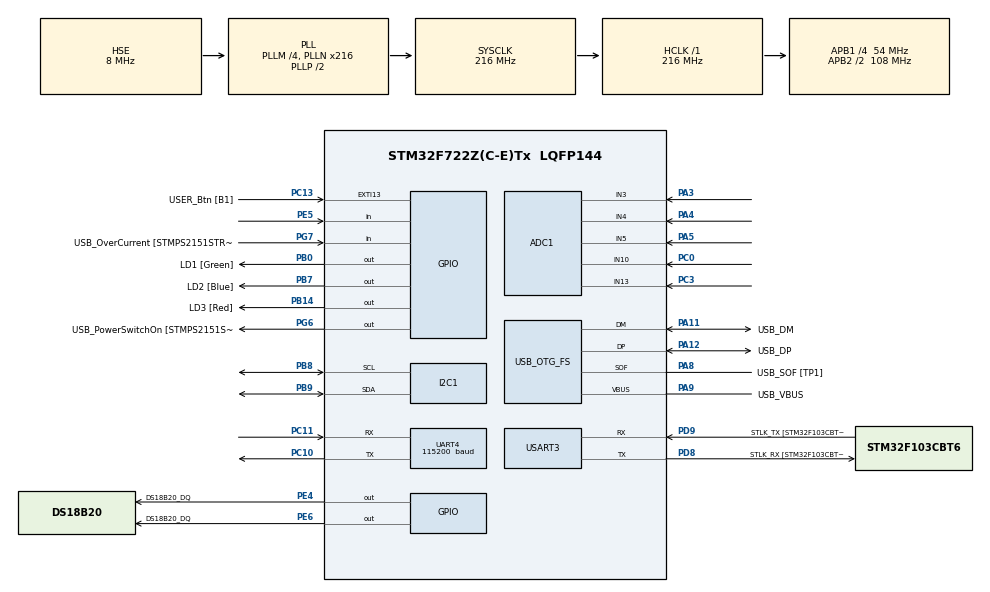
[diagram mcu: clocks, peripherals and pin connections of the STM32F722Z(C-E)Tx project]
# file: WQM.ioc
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ADC1.Channel-3\#ChannelRegularConversion=ADC_CHANNEL_3
ADC1.NbrOfConversionFlag=1
ADC1.Rank-3\#ChannelRegularConversion=1
ADC1.SamplingTime-3\#ChannelRegularConversion=ADC_SAMPLETIME_3CYCLES
ADC1.master=1
CORTEX_M7.default_mode_Activation=1
I2C1.Timing=0x20404768
Mcu.Family=STM32F7
Mcu.Name=STM32F722Z(C-E)Tx
Mcu.Package=LQFP144
NVIC.PriorityGroup=NVIC_PRIORITYGROUP_4
PA10.GPIO_Label=USB_ID
PA10.Signal=USB_OTG_FS_ID
PA11.GPIO_Label=USB_DM
PA11.Mode=Device_Only
PA11.Signal=USB_OTG_FS_DM
PA12.GPIO_Label=USB_DP
PA12.Mode=Device_Only
PA12.Signal=USB_OTG_FS_DP
PA13.GPIO_Label=TMS
PA13.Mode=Serial_Wire
PA13.Signal=SYS_JTMS-SWDIO
PA14.GPIO_Label=TCK
PA14.Mode=Serial_Wire
PA14.Signal=SYS_JTCK-SWCLK
PA3.Signal=ADCx_IN3
PA4.Signal=ADCx_IN4
PA5.Signal=ADCx_IN5
PA8.GPIO_Label=USB_SOF [TP1]
PA8.Mode=Activate_SOF_FS
PA8.Signal=USB_OTG_FS_SOF
PA9.GPIO_Label=USB_VBUS
PA9.Mode=Activate_VBUS
PA9.Signal=USB_OTG_FS_VBUS
PB0.GPIO_Label=LD1 [Green]
PB0.Signal=GPIO_Output
PB14.GPIO_Label=LD3 [Red]
PB14.Signal=GPIO_Output
PB3.GPIO_Label=SWO
PB3.Signal=SYS_JTDO-SWO
PB7.GPIO_Label=LD2 [Blue]
PB7.Signal=GPIO_Output
PB8.Mode=I2C
PB8.Signal=I2C1_SCL
PB9.Mode=I2C
PB9.Signal=I2C1_SDA
PC0.Signal=ADCx_IN10
PC10.Mode=Asynchronous
PC10.Signal=UART4_TX
PC11.Mode=Asynchronous
PC11.Signal=UART4_RX
PC13.GPIO_Label=USER_Btn [B1]
PC13.Signal=GPXTI13
PC14-OSC32_IN.Mode=LSE-External-Oscillator
PC14-OSC32_IN.Signal=RCC_OSC32_IN
PC15-OSC32_OUT.Mode=LSE-External-Oscillator
PC15-OSC32_OUT.Signal=RCC_OSC32_OUT
PC3.Signal=ADCx_IN13
PC6.Signal=USART6_TX
PC7.Signal=USART6_RX
PD8.GPIO_Label=STLK_RX [STM32F103CBT6_PA3]
PD8.Mode=Asynchronous
PD8.Signal=USART3_TX
PD9.GPIO_Label=STLK_TX [STM32F103CBT6_PA2]
PD9.Mode=Asynchronous
PD9.Signal=USART3_RX
PE4.GPIO_Label=DS18B20_DQ
PE4.GPIO_ModeDefaultOutputPP=GPIO_MODE_OUTPUT_OD
PE4.GPIO_PuPd=GPIO_PULLUP
PE4.GPIO_Speed=GPIO_SPEED_FREQ_HIGH
PE4.PinState=GPIO_PIN_SET
PE4.Signal=GPIO_Output
PE5.Signal=GPIO_Input
PE6.GPIO_Label=DS18B20_DQ
PE6.GPIO_ModeDefaultOutputPP=GPIO_MODE_OUTPUT_OD
PE6.GPIO_PuPd=GPIO_PULLUP
PE6.GPIO_Speed=GPIO_SPEED_FREQ_HIGH
PE6.PinState=GPIO_PIN_SET
PE6.Signal=GPIO_Output
PG6.GPIO_Label=USB_PowerSwitchOn [STMPS2151STR_EN]
PG6.Signal=GPIO_Output
PG7.GPIO_Label=USB_OverCurrent [STMPS2151STR_FAULT]
PG7.Signal=GPIO_Input
PH0-OSC_IN.GPIO_Label=MCO
PH0-OSC_IN.Mode=HSE-External-Clock-Source
PH0-OSC_IN.Signal=RCC_OSC_IN
PH1-OSC_OUT.Mode=HSE-External-Clock-Source
PH1-OSC_OUT.Signal=RCC_OSC_OUT
ProjectManager.HeapSize=0x200
ProjectManager.StackSize=0x400
ProjectManager.TargetToolchain=STM32CubeIDE
RCC.48MHZClocksFreq_Value=24000000
RCC.AHBFreq_Value=216000000
RCC.APB1CLKDivider=RCC_HCLK_DIV4
RCC.APB1Freq_Value=54000000
RCC.APB1TimFreq_Value=108000000
RCC.APB2CLKDivider=RCC_HCLK_DIV2
RCC.APB2Freq_Value=108000000
RCC.APB2TimFreq_Value=216000000
RCC.CortexFreq_Value=216000000
RCC.HCLKFreq_Value=216000000
RCC.HSE_VALUE=8000000
RCC.HSI_VALUE=16000000
RCC.PLLM=4
RCC.PLLMUL=RCC_PLL_MUL9
RCC.PLLN=216
RCC.PLLQ=9
RCC.PRESCALERUSB=RCC_USBCLKSOURCE_PLL_DIV1_5
RCC.SYSCLKFreq_VALUE=216000000
RCC.SYSCLKSource=RCC_SYSCLKSOURCE_PLLCLK
RCC.SYSCLKSourceVirtual=RCC_SYSCLKSOURCE_PLLCLK
RCC.USBFreq_Value=48000000
RCC.VCOOutputFreq_Value=432000000
SH.ADCx_IN10.0=ADC1_IN10,IN10
SH.ADCx_IN13.0=ADC1_IN13,IN13
SH.ADCx_IN3.0=ADC1_IN3,IN3
SH.ADCx_IN4.0=ADC1_IN4,IN4
SH.ADCx_IN5.0=ADC1_IN5,IN5
UART4.BaudRate=115200 
USART3.VirtualMode-Asynchronous=VM_ASYNC
USB_OTG_FS.VirtualMode=Device_Only
VP_TIM6_VS_ClockSourceINT.Mode=Enable_Timer
board=NUCLEO-F722ZE

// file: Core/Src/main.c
/* USER CODE BEGIN Header */
/**
 ******************************************************************************
 * @file           : main.c
 * @brief          : Main program body
 ******************************************************************************
 * @attention
 *
 * Copyright (c) 2026 STMicroelectronics.
 * All rights reserved.
 *
 * This software is licensed under terms that can be found in the LICENSE file
 * in the root directory of this software component.
 * If no LICENSE file comes with this software, it is provided AS-IS.
 *
 ******************************************************************************
 */
/* USER CODE END Header */
#include "main.h"

/* USER CODE BEGIN Includes */
#include "bno085.h"
#include <math.h>
#include <stdio.h>
#include <string.h>

/* USER CODE END Includes */

/* USER CODE BEGIN PTD */

/* ── Sensor data aggregate ──────────────────────────────────────────────────
 */
typedef struct {
  float ph;
  float tds_ppm;
  float do_mgl;
  float orp_mv;
  float water_temp_1; /* DS18B20 primary   */
  float air_temp;     /* BMP280            */
  float pressure_hpa; /* BMP280            */

  /* ── Navigation / localisation (BNO085 + GPS) ──────────────────────── */
  float latitude;     /* GPS decimal degrees, north +     */
  float longitude;    /* GPS decimal degrees, east +      */
  float altitude_m;   /* GPS altitude above MSL (m)       */
  float speed_knots;  /* GPS speed over ground (knots)    */
  float course_deg;   /* GPS course over ground (degrees) */
  uint8_t gps_fix;    /* 0 = no fix, 1 = GPS, 2 = DGPS   */
  uint8_t satellites; /* Satellites in use                 */
  float heading;      /* BNO085 yaw / heading (degrees)   */
  float pitch;        /* BNO085 pitch (degrees)           */
  float roll;         /* BNO085 roll  (degrees)           */
} WQM_SensorData_t;

/* ── BMP280 calibration data (from chip NVM) ────────────────────────────────
 * This structure holds the factory-set calibration coefficients (trimming
 * parameters) burned into the BMP280 sensor's non-volatile memory (NVM).
 */
typedef struct {
  /* Temperature compensation parameters */
  uint16_t dig_T1;
  int16_t dig_T2;
  int16_t dig_T3;

  /* Pressure compensation parameters */
  uint16_t dig_P1;
  int16_t dig_P2;
  int16_t dig_P3;
  int16_t dig_P4;
  int16_t dig_P5;
  int16_t dig_P6;
  int16_t dig_P7;
  int16_t dig_P8;
  int16_t dig_P9;
} BMP280_CalibData_t;

/* USER CODE END PTD */

/* USER CODE BEGIN PD */

/* ── ADC & voltage ──────────────────────────────────────────────────────────
 */
#define ADC_RESOLUTION 4095.0f /* 12-bit ADC                     */
#define VREF 3.3f              /* STM32 ADC reference voltage    */
#define VDIV_SCALE 2.0f        /* Voltage divider 2:1 (10k/10k) */
#define ADC_SAMPLES 16         /* Oversampling count             */

/* ── pH sensor (robu.in Analog pH Sensor Kit) ───────────────────────────────
 *
 * Calibrated against standard pH buffers:
 *   pH  4.00 buffer -> V_sensor = 1.357 V
 *   pH  7.00 buffer -> V_sensor = 1.968 V
 *   pH 10.00 buffer -> V_sensor = 2.571 V
 *
 * Linear regression fit:
 *   pH = PH_SCALE × V_sensor + PH_OFFSET
 *   where PH_SCALE = 4.942f, PH_OFFSET = -2.713f
 *   Maximum residual error across 4.0, 7.0, and 10.0 standards is <= 0.01 pH.
 */
#define PH_SCALE (4.942f)  /* Calibrated linear scale factor (pH/V)     */
#define PH_OFFSET (-2.713f) /* Calibrated zero-offset trim               */

/* NOTE: If PA3 has NO hardware voltage divider (sensor output 0-3V direct),
 * change ADC_Read_Voltage() call for pH to use ADC_Read_Channel() with
 * manual ×(3.3/4095.0) and remove the ×2 — or set VDIV_SCALE to 1.0 here.
 * The current code assumes the 2:1 divider IS present on PA3. */

/* ── TDS sensor (SEN0244) polynomial coefficients & calibration ────────────
 * Calibrated against 1413 uS/cm standard solution (target 706.5 ppm):
 *   Measured raw TDS = 682.0 ppm at 16.88°C
 *   Calibration factor K = 706.5 / 682.0 = 1.036
 */
#define TDS_COEFF_A (133.42f)
#define TDS_COEFF_B (-255.86f)
#define TDS_COEFF_C (857.39f)
#define TDS_FACTOR (0.5f)
#define TDS_CAL_K (1.036f)   /* Calibration scale factor (K-value)         */
#define TDS_TEMP_COEFF 0.02f /* 2% per °C temperature compensation         */

/* ── DO sensor (SEN0237-A) calibration ──────────────────────────────────────
 */
#define DO_CAL1_V                                                              \
  764 /* Calibration voltage (mV): measured at PA4 (post-divider) in moist air \
       * at DO_CAL1_T (matches 1.54V sensor board output ÷ 2). */
#define DO_CAL1_T 24          /* Calibration temperature (°C)                  */
#define DO_TEMP_COMP_MV 17.5f /* ~35 mV/°C at board ÷ 2 for voltage divider   */

/* ── ORP sensor (SEN0165) ───────────────────────────────────────────────────
 */
#define ORP_OFFSET 0.0f /* Calibration offset in mV      */

/* ── DS18B20 OneWire ────────────────────────────────────────────────────────
 */
#define OW_PORT GPIOE
#define OW_PIN GPIO_PIN_6
#define DS18B20_CMD_SKIP_ROM 0xCC
#define DS18B20_CMD_MATCH_ROM 0x55
#define DS18B20_CMD_SEARCH 0xF0
#define DS18B20_CMD_CONVERT 0x44
#define DS18B20_CMD_READ_SCRATCH 0xBE

/* ── BMP280 I2C ─────────────────────────────────────────────────────────────
 */
#define BMP280_ADDR_PRIMARY (0x76 << 1) /* 7-bit addr left-shifted for HAL */
#define BMP280_ADDR_SECONDARY (0x77 << 1)
#define BMP280_REG_CALIB_00 0x88 /* Factory calib data start (24 bytes)     */
#define BMP280_REG_ID 0xD0
#define BMP280_REG_RESET 0xE0
#define BMP280_REG_STATUS 0xF3
#define BMP280_REG_CTRL_MEAS 0xF4
#define BMP280_REG_CONFIG 0xF5
#define BMP280_REG_DATA 0xF7 /* Press MSB..XLSB, Temp MSB..XLSB (6 bytes)*/
#define BMP280_CHIP_ID 0x58
#define BMP280_RESET_CMD 0xB6

/* ── JSON buffer ────────────────────────────────────────────────────────────
 */
#define JSON_BUF_SIZE 768 /* Increased for nav/GPS fields */

/* ── BNO085 IMU ─────────────────────────────────────────────────────────────
 */
#define BNO085_REPORT_INTERVAL_MS 100 /* 10 Hz orientation updates      */

/* ── Sampling interval ──────────────────────────────────────────────────────
 */
#define SAMPLE_INTERVAL_MS 1000 /* 1 second between readings     */

/* ── Device ID ──────────────────────────────────────────────────────────────
 */
#define DEVICE_ID                                                              \
  "WQM-001" // incase multiple of these units are deployed later, so each must
            // carry an id

/* ── Onboard ESP32 Gateway UART (Option A: UART4 PC10=TX / PC11=RX @ 115200) */
#define ESP32_UART         (&huart4)
#define ESP32_REPLY_BUF    48
#define ESP32_ACK_TIMEOUT  1000U /* ms to wait for ACK/NAK reply */
#define ESP32_MAX_ATTEMPTS 3     /* Retries on missing reply or NAK storage */

/* USER CODE END PD */

ADC_HandleTypeDef hadc1;

I2C_HandleTypeDef hi2c1;

TIM_HandleTypeDef htim6;

UART_HandleTypeDef huart4;
UART_HandleTypeDef huart3;

PCD_HandleTypeDef hpcd_USB_OTG_FS;

/* USER CODE BEGIN PV */

static BMP280_CalibData_t bmp280_calib;
static int32_t bmp280_t_fine; /* Shared between T & P comp  */
static uint8_t bmp280_i2c_addr = BMP280_ADDR_PRIMARY;
static uint8_t bmp280_ok = 0;
static uint8_t bno085_ok = 0; /* 1 if BNO085 initialized */
static WQM_SensorData_t sensor_data;
static char json_buf[JSON_BUF_SIZE];
static uint32_t sample_counter = 0;

/* BNO085 orientation data */
static BNO085_Orientation_t imu_orient;

/* DS18B20 ROM addresses — filled at boot by search */
static uint8_t ds18b20_rom[2][8]; /* ROM codes for up to 2 sensors       */
static uint8_t ds18b20_count = 0; /* Number of sensors discovered        */

/* DO saturation lookup table (mg/L × 1000) from 0°C to 40°C
 * e.g. DO_Table[25] = 8250 → 8.250 mg/L (standard O₂ saturation at 25°C) */
static const uint16_t DO_Table[41] = {
    14460, 14220, 13820, 13440, 13090, 12740, 12420, 12110, 11810, 11530, 11260,
    11010, 10770, 10530, 10300, 10080, 9860,  9660,  9460,  9270,  9080,  8900,
    8730,  8570,  8410,  8250,  8110,  7960,  7820,  7690,  7560,  7430,  7300,
    7180,  7070,  6950,  6840,  6730,  6630,  6530,  6410};

/* USER CODE END PV */

void SystemClock_Config(void);
static void MPU_Config(void);
static void MX_GPIO_Init(void);
static void MX_USART3_UART_Init(void);
static void MX_USB_OTG_FS_PCD_Init(void);
static void MX_ADC1_Init(void);
static void MX_I2C1_Init(void);
static void MX_TIM6_Init(void);
static void MX_UART4_Init(void);
/* USER CODE BEGIN PFP */

/* ── Microsecond delay ──────────────────────────────────────────────────────
 */
static void DWT_Init(void);
static void delay_us(uint32_t us);

/* ── ADC helpers ────────────────────────────────────────────────────────────
 */
static uint32_t ADC_Read_Channel(uint32_t channel);
static float ADC_Read_Voltage(uint32_t channel);

/* ── DS18B20 OneWire ────────────────────────────────────────────────────────
 */
static void OW_Init(void);
static inline void OW_Write(uint8_t state);
static inline uint8_t OW_Read(void);
static uint8_t OW_Reset(void);
static void OW_WriteBit(uint8_t bit);
static uint8_t OW_ReadBit(void);
static void OW_WriteByte(uint8_t data);
static uint8_t OW_ReadByte(void);
static void DS18B20_SearchROM(void);
static void DS18B20_StartConvertAll(void);
static float DS18B20_ReadTemp(uint8_t index);

/* ── BMP280 ─────────────────────────────────────────────────────────────────
 */
static uint8_t BMP280_Init(void);
static void BMP280_ReadCalibration(void);
static void BMP280_ReadAll(float *temp, float *press);
static int32_t BMP280_CompensateTemp(int32_t adc_T);
static uint32_t BMP280_CompensatePress(int32_t adc_P);

/* ── Analog sensor conversions ──────────────────────────────────────────────
 */
static float Sensor_ReadPH(void);
static float Sensor_ReadTDS(float water_temp);
static float Sensor_ReadDO(float water_temp, float pressure_hpa);
static float Sensor_ReadORP(void);

/* ── JSON builder ───────────────────────────────────────────────────────────
 */
static float Sanitize_Float(float val, float fallback);
static uint16_t WQM_BuildJSON(const WQM_SensorData_t *data, char *buf,
                              uint16_t buf_size);

/* ── Debug & ESP32 Gateway UART output ─────────────────────────────────────
 */
void Debug_Print(const char *str);
static uint8_t ESP32_ReadReply(char *reply, size_t size, uint32_t timeout_ms);
static uint8_t ESP32_SendPacket(const char *json, uint16_t len);

/* USER CODE END PFP */

/* USER CODE BEGIN 0 */

/* ═══════════════════════════════════════════════════════════════════════════
 */
/*                   MICROSECOND DELAY (Cortex-M7 DWT)                       */
/* ═══════════════════════════════════════════════════════════════════════════
 */

static void DWT_Init(void) {
  CoreDebug->DEMCR |= CoreDebug_DEMCR_TRCENA_Msk;
  DWT->LAR = 0xC5ACCE55; /* Unlock DWT registers on Cortex-M7 */
  DWT->CYCCNT = 0;
  DWT->CTRL |= DWT_CTRL_CYCCNTENA_Msk;
}

static void delay_us(uint32_t us) {
  uint32_t start = DWT->CYCCNT;
  uint32_t ticks = us * (SystemCoreClock / 1000000U);
  while ((DWT->CYCCNT - start) < ticks)
    ;
}

/* ═══════════════════════════════════════════════════════════════════════════
 */
/*                         ADC SINGLE-CHANNEL READER                         */
/* ═══════════════════════════════════════════════════════════════════════════
 */

/**
 * @brief  Read a single ADC channel with oversampling (16 samples averaged).
 * @param  channel  ADC channel number (e.g. ADC_CHANNEL_3)
 * @return Raw 12-bit ADC value (averaged)
 */
static uint32_t ADC_Read_Channel(uint32_t channel) {
  ADC_ChannelConfTypeDef sConfig = {0};
  sConfig.Channel = channel;
  sConfig.Rank = ADC_REGULAR_RANK_1;
  sConfig.SamplingTime = ADC_SAMPLETIME_480CYCLES; /* 480 cycles for maximum impedance settling */
  HAL_ADC_ConfigChannel(&hadc1, &sConfig);

  uint32_t sum = 0;
  for (int i = 0; i < ADC_SAMPLES; i++) {
    HAL_ADC_Start(&hadc1);
    HAL_ADC_PollForConversion(&hadc1, 10);
    sum += HAL_ADC_GetValue(&hadc1);
    HAL_ADC_Stop(&hadc1);
  }
  return sum / ADC_SAMPLES;
}

/**
 * @brief  Read ADC channel and convert to real-world voltage (accounting
 *         for voltage divider).
 * @param  channel  ADC channel number
 * @return Voltage at the sensor output (before divider), in volts
 */
static float ADC_Read_Voltage(uint32_t channel) {
  uint32_t raw = ADC_Read_Channel(channel);
  float v_adc = ((float)raw / ADC_RESOLUTION) * VREF;
  return v_adc * VDIV_SCALE; /* Scale back through voltage divider */
}

/* ═══════════════════════════════════════════════════════════════════════════
 */
/*                        DS18B20 — ONEWIRE DRIVER                           */
/* ═══════════════════════════════════════════════════════════════════════════
 */

static void OW_Init(void) {
  GPIO_InitTypeDef g = {0};
  g.Pin = OW_PIN;
  g.Mode = GPIO_MODE_OUTPUT_OD;
  g.Pull = GPIO_PULLUP;
  g.Speed = GPIO_SPEED_FREQ_HIGH;
  HAL_GPIO_Init(OW_PORT, &g);
  OW_PORT->BSRR = OW_PIN; /* Release to float HIGH */
}

static inline void OW_Write(uint8_t state) {
  if (state) {
    OW_PORT->BSRR = OW_PIN; /* Release (open-drain floating HIGH via pull-up) */
  } else {
    OW_PORT->BSRR = (uint32_t)OW_PIN << 16U; /* Drive LOW to GND */
  }
}

static inline uint8_t OW_Read(void) { return (OW_PORT->IDR & OW_PIN) ? 1 : 0; }

/**
 * @brief  OneWire reset pulse. Returns 1 if a device is present, 0 otherwise.
 */
static uint8_t OW_Reset(void) {
  uint8_t presence = 0;
  OW_Write(0);
  delay_us(480);
  OW_Write(1); /* Release bus */

  /* Search for presence pulse (sensor pulls line LOW 15–60µs after release) */
  for (int t = 0; t < 240; t += 10) {
    delay_us(10);
    if (OW_Read() == 0) {
      presence = 1;
    }
  }
  delay_us(240);
  return presence;
}

static void OW_WriteBit(uint8_t bit) {
  if (bit) {
    OW_Write(0);
    delay_us(6);
    OW_Write(1);
    delay_us(54);
  } else {
    OW_Write(0);
    delay_us(60);
    OW_Write(1);
    delay_us(10);
  }
}

static uint8_t OW_ReadBit(void) {
  uint8_t bit;
  OW_Write(0);
  delay_us(3);
  OW_Write(1);
  delay_us(10);
  bit = OW_Read();
  delay_us(50);
  return bit;
}

static void OW_WriteByte(uint8_t data) {
  for (int i = 0; i < 8; i++) {
    OW_WriteBit(data & 0x01);
    data >>= 1;
  }
}

static uint8_t OW_ReadByte(void) {
  uint8_t data = 0;
  for (int i = 0; i < 8; i++) {
    data |= (OW_ReadBit() << i);
  }
  return data;
}

/**
 * @brief  Simple ROM search — discovers up to 2 DS18B20 devices on the bus.
 *         For exactly 2 sensors, this uses the SEARCH ROM algorithm.
 *         Fallback: if only 1 device, READ ROM is used.
 */
static void DS18B20_SearchROM(void) {
  ds18b20_count = 0;
  OW_Init();

  /* Check initial bus idle voltage level */
  uint8_t idle = OW_Read();
  if (idle == 0) {
    Debug_Print("[DS18B20] Pin PE6 reads LOW at idle (bus shorted to GND or no "
                "pull-up resistor).\r\n");
  } else {
    Debug_Print("[DS18B20] Pin PE6 reads HIGH at idle (pull-up OK).\r\n");
  }

  /* Try READ ROM first (works only with a single device) */
  if (!OW_Reset()) {
    Debug_Print(
        "[DS18B20] No presence pulse on PE6 (sensor not responding).\r\n");
    return;
  }
  Debug_Print("[DS18B20] Presence pulse detected!\r\n");

  OW_WriteByte(0x33); /* READ ROM command */
  for (int i = 0; i < 8; i++) {
    ds18b20_rom[0][i] = OW_ReadByte();
  }

  char rom_diag[80];
  snprintf(rom_diag, sizeof(rom_diag),
           "[DS18B20] ROM: %02X %02X %02X %02X %02X %02X %02X %02X\r\n",
           ds18b20_rom[0][0], ds18b20_rom[0][1], ds18b20_rom[0][2],
           ds18b20_rom[0][3], ds18b20_rom[0][4], ds18b20_rom[0][5],
           ds18b20_rom[0][6], ds18b20_rom[0][7]);
  Debug_Print(rom_diag);

  /* Validate family code (0x28 = DS18B20) */
  if (ds18b20_rom[0][0] == 0x28) {
    ds18b20_count = 1;
  } else {
    Debug_Print("[DS18B20] Warning: family code is not 0x28.\r\n");
    return; /* No valid device found */
  }

  /* Attempt to find a second device via SEARCH ROM */
  /* Simplified: try SKIP ROM convert then match each ROM to read.
     For 2 sensors sharing a bus, we do a basic iterative search. */
  uint8_t last_discrepancy = 0;
  uint8_t rom_byte, rom_bit, id_bit, cmp_bit;
  uint8_t search_dir;
  uint8_t temp_rom[8];
  (void)last_discrepancy; /* Used in full search; suppress warning */

  if (!OW_Reset())
    return;
  OW_WriteByte(DS18B20_CMD_SEARCH);

  for (int bit_num = 1; bit_num <= 64; bit_num++) {
    id_bit = OW_ReadBit();
    cmp_bit = OW_ReadBit();

    if (id_bit && cmp_bit) {
      /* No devices on bus */
      return;
    }

    if (id_bit != cmp_bit) {
      search_dir = id_bit;
    } else {
      /* Discrepancy — take the opposite path from ROM[0] */
      rom_byte = (bit_num - 1) / 8;
      rom_bit = (bit_num - 1) % 8;
      search_dir = !(ds18b20_rom[0][rom_byte] & (1 << rom_bit)) ? 1 : 0;
      if (search_dir)
        last_discrepancy = bit_num;
    }

    rom_byte = (bit_num - 1) / 8;
    rom_bit = (bit_num - 1) % 8;
    if (search_dir) {
      temp_rom[rom_byte] |= (1 << rom_bit);
    } else {
      temp_rom[rom_byte] &= ~(1 << rom_bit);
    }

    OW_WriteBit(search_dir);
  }

  /* Validate the second ROM */
  if (temp_rom[0] == 0x28 && memcmp(temp_rom, ds18b20_rom[0], 8) != 0) {
    memcpy(ds18b20_rom[1], temp_rom, 8);
    ds18b20_count = 2;
  }
}

/**
 * @brief  Start temperature conversion on ALL DS18B20 sensors (SKIP ROM).
 */
static void DS18B20_StartConvertAll(void) {
  if (!OW_Reset())
    return;
  OW_WriteByte(DS18B20_CMD_SKIP_ROM);
  OW_WriteByte(DS18B20_CMD_CONVERT);
}

/**
 * @brief  Read temperature from a specific DS18B20 by ROM index.
 * @param  index  0 = primary, 1 = backup
 * @return Temperature in °C, or -127.0 on error
 */
static float DS18B20_ReadTemp(uint8_t index) {
  if (index >= ds18b20_count)
    return -127.0f;

  if (!OW_Reset())
    return -127.0f;

  OW_WriteByte(DS18B20_CMD_MATCH_ROM);
  for (int i = 0; i < 8; i++) {
    OW_WriteByte(ds18b20_rom[index][i]);
  }
  OW_WriteByte(DS18B20_CMD_READ_SCRATCH);

  uint8_t lsb = OW_ReadByte();
  uint8_t msb = OW_ReadByte();

  int16_t raw = (int16_t)((msb << 8) | lsb);
  return (float)raw / 16.0f; /* Default 12-bit resolution: 0.0625°C per LSB */
}

/* ═══════════════════════════════════════════════════════════════════════════
 */
/*                         BMP280 — I2C DRIVER                               */
/* ═══════════════════════════════════════════════════════════════════════════
 */

static uint8_t BMP280_ReadReg(uint8_t reg) {
  uint8_t val = 0;
  HAL_I2C_Mem_Read(&hi2c1, bmp280_i2c_addr, reg, I2C_MEMADD_SIZE_8BIT, &val, 1,
                   100);
  return val;
}

static void BMP280_WriteReg(uint8_t reg, uint8_t val) {
  HAL_I2C_Mem_Write(&hi2c1, bmp280_i2c_addr, reg, I2C_MEMADD_SIZE_8BIT, &val, 1,
                    100);
}

static HAL_StatusTypeDef BMP280_ReadBurst(uint8_t reg, uint8_t *buf,
                                          uint16_t len) {
  return HAL_I2C_Mem_Read(&hi2c1, bmp280_i2c_addr, reg, I2C_MEMADD_SIZE_8BIT,
                          buf, len, 100);
}

static uint8_t BMP280_Init(void) {
  const uint8_t candidate_addrs[2] = {BMP280_ADDR_PRIMARY,
                                      BMP280_ADDR_SECONDARY};
  uint8_t id = 0;
  uint8_t found = 0;
  char diag[128];

  /* Allow GY-BMP280 module LDO regulator and bus pull-ups to stabilize */
  HAL_Delay(100);

  /* Probe both 0x76 and 0x77 addresses with retries */
  for (int retry = 0; retry < 5 && !found; retry++) {
    for (int i = 0; i < 2; i++) {
      bmp280_i2c_addr = candidate_addrs[i];
      if (HAL_I2C_IsDeviceReady(&hi2c1, bmp280_i2c_addr, 2, 50) == HAL_OK) {
        id = BMP280_ReadReg(BMP280_REG_ID);
        snprintf(diag, sizeof(diag),
                 "[BMP280] ACK at 0x%02X, Reg 0xD0 ID = 0x%02X\r\n",
                 bmp280_i2c_addr >> 1, id);
        Debug_Print(diag);

        if (id == BMP280_CHIP_ID || id == 0x56 || id == 0x57) {
          found = 1;
          break;
        }
      }
    }
    if (!found) {
      HAL_Delay(20);
    }
  }

  if (!found) {
    bmp280_ok = 0;
    return 0;
  }

  bmp280_ok = 1;

  /* Soft reset sensor and wait for reboot */
  BMP280_WriteReg(BMP280_REG_RESET, BMP280_RESET_CMD);
  HAL_Delay(100);

  /* Wait until NVM trimming parameters finish copying to image registers */
  uint8_t poll_count = 50;
  while ((BMP280_ReadReg(BMP280_REG_STATUS) & 0x01) && --poll_count) {
    HAL_Delay(10);
  }

  /* Read factory calibration data (24 bytes) */
  BMP280_ReadCalibration();

  /* Print diagnostic calibration coefficients */
  {
    char diag[128];
    snprintf(diag, sizeof(diag),
             "[BMP280] Calib: T1=%u T2=%d T3=%d | P1=%u P2=%d P3=%d\r\n",
             bmp280_calib.dig_T1, bmp280_calib.dig_T2, bmp280_calib.dig_T3,
             bmp280_calib.dig_P1, bmp280_calib.dig_P2, bmp280_calib.dig_P3);
    Debug_Print(diag);
  }

  /* Config: standby 62.5ms, filter off */
  BMP280_WriteReg(BMP280_REG_CONFIG, 0x20);

  /* ctrl_meas: temp ×1, pressure ×1, normal mode (0x27) */
  BMP280_WriteReg(BMP280_REG_CTRL_MEAS, 0x27);
  HAL_Delay(50);

  /* Verify ctrl_meas */
  uint8_t ctrl_check = BMP280_ReadReg(BMP280_REG_CTRL_MEAS);
  if ((ctrl_check & 0x03) == 0) {
    /* If still in sleep, force normal mode */
    BMP280_WriteReg(BMP280_REG_CTRL_MEAS, 0x27);
  }

  return 1;
}

static void BMP280_ReadCalibration(void) {
  uint8_t buf[24];
  BMP280_ReadBurst(BMP280_REG_CALIB_00, buf, 24);

  bmp280_calib.dig_T1 = (uint16_t)(buf[1] << 8 | buf[0]);
  bmp280_calib.dig_T2 = (int16_t)(buf[3] << 8 | buf[2]);
  bmp280_calib.dig_T3 = (int16_t)(buf[5] << 8 | buf[4]);
  bmp280_calib.dig_P1 = (uint16_t)(buf[7] << 8 | buf[6]);
  bmp280_calib.dig_P2 = (int16_t)(buf[9] << 8 | buf[8]);
  bmp280_calib.dig_P3 = (int16_t)(buf[11] << 8 | buf[10]);
  bmp280_calib.dig_P4 = (int16_t)(buf[13] << 8 | buf[12]);
  bmp280_calib.dig_P5 = (int16_t)(buf[15] << 8 | buf[14]);
  bmp280_calib.dig_P6 = (int16_t)(buf[17] << 8 | buf[16]);
  bmp280_calib.dig_P7 = (int16_t)(buf[19] << 8 | buf[18]);
  bmp280_calib.dig_P8 = (int16_t)(buf[21] << 8 | buf[20]);
  bmp280_calib.dig_P9 = (int16_t)(buf[23] << 8 | buf[22]);
}

/**
 * @brief  Bosch BMP280 temperature compensation (returns °C × 100).
 *         Sets bmp280_t_fine for pressure compensation.
 */
static int32_t BMP280_CompensateTemp(int32_t adc_T) {
  int32_t var1, var2, T;
  var1 = ((((adc_T >> 3) - ((int32_t)bmp280_calib.dig_T1 << 1))) *
          ((int32_t)bmp280_calib.dig_T2)) >>
         11;
  var2 = (((((adc_T >> 4) - ((int32_t)bmp280_calib.dig_T1)) *
            ((adc_T >> 4) - ((int32_t)bmp280_calib.dig_T1))) >>
           12) *
          ((int32_t)bmp280_calib.dig_T3)) >>
         14;
  bmp280_t_fine = var1 + var2;
  T = (bmp280_t_fine * 5 + 128) >> 8;
  return T; /* °C × 100 */
}

static uint32_t BMP280_CompensatePress(int32_t adc_P) {
  int64_t var1, var2, p;
  var1 = ((int64_t)bmp280_t_fine) - 128000;
  var2 = var1 * var1 * (int64_t)bmp280_calib.dig_P6;
  var2 = var2 + ((var1 * (int64_t)bmp280_calib.dig_P5) << 17);
  var2 = var2 + (((int64_t)bmp280_calib.dig_P4) << 35);
  var1 = ((var1 * var1 * (int64_t)bmp280_calib.dig_P3) >> 8) +
         ((var1 * (int64_t)bmp280_calib.dig_P2) << 12);
  var1 = (((((int64_t)1) << 47) + var1)) * ((int64_t)bmp280_calib.dig_P1) >> 33;
  if (var1 == 0)
    return 0;
  p = 1048576 - adc_P;
  p = (((p << 31) - var2) * 3125) / var1;
  var1 = (((int64_t)bmp280_calib.dig_P9) * (p >> 13) * (p >> 13)) >> 25;
  var2 = (((int64_t)bmp280_calib.dig_P8) * p) >> 19;
  p = ((p + var1 + var2) >> 8) + (((int64_t)bmp280_calib.dig_P7) << 4);
  return (uint32_t)p; /* Pa × 256 */
}

/**
 * @brief  Read BMP280 data (temperature & barometric pressure).
 */
static void BMP280_ReadAll(float *temp, float *press) {
  if (!bmp280_ok) {
    *temp = 0.0f;
    *press = 0.0f;
    return;
  }

  uint8_t buf[6] = {0};
  if (BMP280_ReadBurst(BMP280_REG_DATA, buf, 6) != HAL_OK) {
    HAL_I2C_DeInit(&hi2c1);
    MX_I2C1_Init();
    return;
  }

  int32_t adc_P = (int32_t)((buf[0] << 12) | (buf[1] << 4) | (buf[2] >> 4));
  int32_t adc_T = (int32_t)((buf[3] << 12) | (buf[4] << 4) | (buf[5] >> 4));

  /* 0x80000 or 0 indicates measurement disabled or unready */
  if (adc_T == 0x80000 || adc_T == 0) {
    return;
  }

  /* Temperature MUST be calculated first (sets bmp280_t_fine) */
  int32_t t100 = BMP280_CompensateTemp(adc_T);
  uint32_t p256 = BMP280_CompensatePress(adc_P);

  *temp = (float)t100 / 100.0f;
  *press = (float)p256 / 256.0f / 100.0f; /* Pa → hPa */
}

/* ═══════════════════════════════════════════════════════════════════════════
 */
/*                    ANALOG SENSOR CONVERSION FUNCTIONS                     */
/* ═══════════════════════════════════════════════════════════════════════════
 */

/**
 * @brief  Read pH from the robu.in Analog pH Sensor Kit.
 *
 *         Formula: pH = PH_SCALE × V_sensor + PH_OFFSET
 *         where V_sensor is the reconstructed sensor output in volts
 *         (ADC_Read_Voltage accounts for the 2:1 divider on PA3).
 *
 *         Calibration:
 *          • Short the BNC connector → sensor should read ~pH 7.0
 *            If reading ≠ 7.0, set PH_OFFSET = 7.0 − displayed_value.
 *          • Dip in pH 4.00 buffer → verify reading ≈ 4.0 (confirms scale).
 */
static float Sensor_ReadPH(void) {
  /* ADC_Read_Voltage reconstructs V_sensor = ADC × (3.3/4095) × 2 (divider) */
  float v_sensor = ADC_Read_Voltage(ADC_CHANNEL_3); /* PA3 */

  float ph = PH_SCALE * v_sensor + PH_OFFSET;

  /* Clamp to physically valid pH range */
  if (ph < 0.0f)
    ph = 0.0f;
  if (ph > 14.0f)
    ph = 14.0f;

  char ph_diag[96];
  snprintf(ph_diag, sizeof(ph_diag),
           "[pH] V_sensor=%.3fV  pH=%.2f  (scale=%.3f offset=%.3f)\r\n",
           v_sensor, ph, PH_SCALE, PH_OFFSET);
  Debug_Print(ph_diag);

  return ph;
}

/**
 * @brief  Read TDS from SEN0244 with temperature compensation.
 *         DFRobot polynomial: TDS = (133.42×Vc³ - 255.86×Vc² + 857.39×Vc) × 0.5
 */
static float Sensor_ReadTDS(float water_temp) {
  float voltage = ADC_Read_Voltage(ADC_CHANNEL_5); /* PA5 */

  /* Temperature compensation */
  float comp_coeff = 1.0f + TDS_TEMP_COEFF * (water_temp - 25.0f);
  float comp_v = voltage / comp_coeff;

  /* Polynomial conversion with calibration multiplier */
  float tds = (TDS_COEFF_A * comp_v * comp_v * comp_v +
               TDS_COEFF_B * comp_v * comp_v + TDS_COEFF_C * comp_v) *
              TDS_FACTOR * TDS_CAL_K;
  if (tds < 0.0f)
    tds = 0.0f;
  if (tds > 1000.0f)
    tds = 1000.0f; /* SEN0244 max range */

  char tds_diag[96];
  snprintf(tds_diag, sizeof(tds_diag),
           "[TDS] V_sensor=%.3fV  comp_v=%.3fV  TDS=%.1f ppm (k=%.3f)\r\n",
           voltage, comp_v, tds, TDS_CAL_K);
  Debug_Print(tds_diag);

  return tds;
}

/**
 * @brief  Read dissolved oxygen (Graylogix galvanic amperometric probe).
 *
 *         Method: single-point air calibration + temperature lookup table.
 *
 *         V_pin_mv  = raw ADC voltage at PA4 pin in millivolts
 *                     (post-divider, same scale as DO_CAL1_V)
 *         V_sat_mv  = DO_CAL1_V × DO_Table[T] / DO_Table[CAL_T]
 *                     (saturation voltage scaled to current temperature)
 *         DO (mg/L) = V_pin_mv × DO_Table[T] / V_sat_mv / 1000
 *
 *         Barometric correction: DO × (P_actual / 1013.25)
 *
 * @param  water_temp   Water temperature from DS18B20 (°C)
 * @param  pressure_hpa Barometric pressure from BMP280 (hPa)
 */
static float Sensor_ReadDO(float water_temp, float pressure_hpa) {
  /*
   * Read the raw ADC count and convert to mV at the ADC pin.
   * We deliberately do NOT use ADC_Read_Voltage() (which applies ×2 for the
   * divider) because DO_CAL1_V is also measured at the ADC pin — both sides
   * of the ratio are on the same post-divider scale, so they cancel.
   */
  uint32_t raw = ADC_Read_Channel(ADC_CHANNEL_4); /* PA4 */
  uint32_t v_pin_mv = (raw * 3300UL) / 4095UL;    /* mV at ADC pin */

  /* Clamp temperature index to lookup table bounds [0, 40] */
  uint8_t t = (uint8_t)water_temp;
  if (t > 40)
    t = 40;

  /*
   * Temperature-compensated saturation voltage (DFRobot / Graylogix formula):
   * V_sat(T) = DO_CAL1_V + DO_TEMP_COMP_MV * (T - DO_CAL1_T)
   * Probe membrane permeability increases ~35 mV/°C at sensor output,
   * which corresponds to ~17.5 mV/°C at PA4 post-divider.
   */
  float v_sat_mv = (float)DO_CAL1_V + (float)DO_TEMP_COMP_MV * ((float)t - (float)DO_CAL1_T);
  if (v_sat_mv < 100.0f) {
    v_sat_mv = 100.0f; /* Safety clamp to prevent division by zero */
  }

  float do_val = 0.0f;
  if (v_sat_mv > 0.0f) {
    do_val =
        ((float)v_pin_mv * (float)DO_Table[t]) / (v_sat_mv * 1000.0f);
  }

  /* Barometric pressure compensation: DO × (P / P_std) */
  if (pressure_hpa > 300.0f && pressure_hpa < 1200.0f) {
    do_val *= (pressure_hpa / 1013.25f);
  }

  /* Diagnostic output */
  char do_diag[96];
  snprintf(do_diag, sizeof(do_diag),
           "[DO] V_pin=%lumV V_sat=%.0fmV T=%d°C -> %.2f mg/L\r\n",
           (unsigned long)v_pin_mv, v_sat_mv, t, do_val);
  Debug_Print(do_diag);

  if (do_val < 0.0f)
    do_val = 0.0f;
  if (do_val > 20.0f)
    do_val = 20.0f;
  return do_val;
}

/**
 * @brief  Read ORP from SEN0165.
 *         The SEN0165 signal board outputs a voltage centred around ~2.0V
 *         (at 0 mV ORP).  The relationship is linear:
 *           ORP_mV = (2.0 − V_board) × 1000
 *         where V_board is the 0–5V output of the signal board, reconstructed
 *         from the ADC reading through the 2:1 voltage divider.
 *
 *         This is the simplified form of DFRobot's original formula:
 *           ((30 × 5 × 1000) − (75 × ADC × 5 × 1000 / 1024)) / 75
 *         adapted for our 12-bit ADC + 3.3V VREF + 2:1 divider setup.
 */
static float Sensor_ReadORP(void) {
  /*
   * DFRobot SEN0165 uses a trimmed-mean over multiple samples to reject
   * transient noise and 50/60 Hz mains ripple on high-impedance ORP probes.
   * We sample 20 readings spaced 5ms apart, drop min & max, and average.
   */
  #define ORP_FILTER_SAMPLES 20
  float samples[ORP_FILTER_SAMPLES];
  float min_v = 10.0f, max_v = -10.0f, sum = 0.0f;

  for (int i = 0; i < ORP_FILTER_SAMPLES; i++) {
    samples[i] = ADC_Read_Voltage(ADC_CHANNEL_13); /* PC3, includes ×2 divider */
    if (samples[i] < min_v) min_v = samples[i];
    if (samples[i] > max_v) max_v = samples[i];
    sum += samples[i];
    HAL_Delay(5); /* 5ms spacing to span multiple 50Hz/60Hz AC mains cycles */
  }

  /* Discard highest and lowest outlier samples (trimmed mean) */
  float v_board = (sum - min_v - max_v) / (float)(ORP_FILTER_SAMPLES - 2);

  /* DFRobot SEN0165: ORP_mV = (2.0V midpoint − board voltage) × 1000 */
  float orp_mv = (2.0f - v_board) * 1000.0f - ORP_OFFSET;

  char orp_diag[96];
  snprintf(orp_diag, sizeof(orp_diag),
           "[ORP] V_board=%.3fV  ORP=%.1f mV (offset=%.1f)\r\n",
           v_board, orp_mv, ORP_OFFSET);
  Debug_Print(orp_diag);

  return orp_mv;
}

/* ═══════════════════════════════════════════════════════════════════════════
 */
/*                           JSON PACKET BUILDER                             */
/* ═══════════════════════════════════════════════════════════════════════════
 */

static float Sanitize_Float(float val, float fallback) {
  return isfinite(val) ? val : fallback;
}

/**
 * @brief  Build a JSON payload from the sensor data struct.
 * @param  data     Pointer to sensor data
 * @param  buf      Output buffer
 * @param  buf_size Buffer size
 * @return Number of bytes written (excluding null terminator), or 0 if truncated
 */
static uint16_t WQM_BuildJSON(const WQM_SensorData_t *data, char *buf,
                              uint16_t buf_size) {
  int len = snprintf(
      buf, buf_size,
      "{"
      "\"id\":\"%s\","
      "\"ts\":%lu,"
      "\"pH\":%.2f,"
      "\"tds_ppm\":%.1f,"
      "\"do_mgl\":%.2f,"
      "\"orp_mv\":%.1f,"
      "\"temp_w1\":%.2f,"
      "\"temp_air\":%.2f,"
      "\"pressure_hpa\":%.2f,"
      "\"lat\":%.6f,"
      "\"lon\":%.6f,"
      "\"alt_m\":%.1f,"
      "\"sog_knots\":%.1f,"
      "\"cog_deg\":%.1f,"
      "\"gps_fix\":%u,"
      "\"sats\":%u,"
      "\"heading\":%.1f,"
      "\"pitch\":%.1f,"
      "\"roll\":%.1f"
      "}\r\n",
      DEVICE_ID, (unsigned long)HAL_GetTick(),
      Sanitize_Float(data->ph, 0.0f),
      Sanitize_Float(data->tds_ppm, 0.0f),
      Sanitize_Float(data->do_mgl, 0.0f),
      Sanitize_Float(data->orp_mv, 0.0f),
      Sanitize_Float(data->water_temp_1, 0.0f),
      Sanitize_Float(data->air_temp, 0.0f),
      Sanitize_Float(data->pressure_hpa, 0.0f),
      Sanitize_Float(data->latitude, 0.0f),
      Sanitize_Float(data->longitude, 0.0f),
      Sanitize_Float(data->altitude_m, 0.0f),
      Sanitize_Float(data->speed_knots, 0.0f),
      Sanitize_Float(data->course_deg, 0.0f),
      data->gps_fix, data->satellites,
      Sanitize_Float(data->heading, 0.0f),
      Sanitize_Float(data->pitch, 0.0f),
      Sanitize_Float(data->roll, 0.0f));

  return (len > 0 && len < (int)buf_size) ? (uint16_t)len : 0;
}

/* ═══════════════════════════════════════════════════════════════════════════
 */
/*                       DEBUG & ESP32 GATEWAY UART                          */
/* ═══════════════════════════════════════════════════════════════════════════
 */

void Debug_Print(const char *str) {
  HAL_UART_Transmit(&huart3, (uint8_t *)str, strlen(str), 500);
}

/**
 * @brief  Read one newline-terminated reply line ("ACK" / "NAK <reason>")
 *         from the onboard ESP32 gateway over UART4.
 */
static uint8_t ESP32_ReadReply(char *reply, size_t size, uint32_t timeout_ms) {
  uint32_t start = HAL_GetTick();
  size_t len = 0;

  while ((HAL_GetTick() - start) < timeout_ms) {
    uint8_t c = 0;
    if (HAL_UART_Receive(ESP32_UART, &c, 1, 10) != HAL_OK) {
      __HAL_UART_CLEAR_FLAG(ESP32_UART,
                            UART_CLEAR_OREF | UART_CLEAR_FEF | UART_CLEAR_NEF);
      continue;
    }
    if (c == '\r') {
      continue;
    }
    if (c == '\n') {
      reply[len] = '\0';
      return 1;
    }
    if (len < (size - 1)) {
      reply[len++] = (char)c;
    }
  }

  reply[len] = '\0';
  return 0; /* Timed out */
}

/**
 * @brief  Transmit one JSON telemetry line over UART4 to ESP32 and wait for ACK.
 * @return 1 if ESP32 acknowledged storage ("ACK"), 0 otherwise.
 */
static uint8_t ESP32_SendPacket(const char *json, uint16_t len) {
  if (json == NULL || len == 0) {
    return 0;
  }

  for (int attempt = 1; attempt <= ESP32_MAX_ATTEMPTS; attempt++) {
    uint8_t junk = 0;
    __HAL_UART_CLEAR_FLAG(ESP32_UART,
                          UART_CLEAR_OREF | UART_CLEAR_FEF | UART_CLEAR_NEF | UART_CLEAR_PEF);
    while (HAL_UART_Receive(ESP32_UART, &junk, 1, 0) == HAL_OK) {
    }
    __HAL_UART_CLEAR_FLAG(ESP32_UART,
                          UART_CLEAR_OREF | UART_CLEAR_FEF | UART_CLEAR_NEF);

    if (HAL_UART_Transmit(ESP32_UART, (uint8_t *)json, len, 200) != HAL_OK) {
      Debug_Print("[ESP32] UART4 TX error\r\n");
      continue;
    }

    char reply[ESP32_REPLY_BUF];
    if (!ESP32_ReadReply(reply, sizeof(reply), ESP32_ACK_TIMEOUT)) {
      char msg[64];
      snprintf(msg, sizeof(msg), "[ESP32] No ACK (attempt %d/%d)\r\n", attempt,
               ESP32_MAX_ATTEMPTS);
      Debug_Print(msg);
      continue;
    }

    if (strcmp(reply, "ACK") == 0) {
      Debug_Print("[ESP32] ACK\r\n");
      return 1;
    }

    if (strcmp(reply, "NAK storage") == 0) {
      char msg[64];
      snprintf(msg, sizeof(msg), "[ESP32] NAK storage (attempt %d/%d)\r\n",
               attempt, ESP32_MAX_ATTEMPTS);
      Debug_Print(msg);
      continue;
    }

    /* Any other NAK indicates a schema/JSON format issue; retrying won't help */
    char err_msg[80];
    snprintf(err_msg, sizeof(err_msg), "[ESP32] Rejected: %s\r\n", reply);
    Debug_Print(err_msg);
    return 0;
  }

  Debug_Print("[ESP32] Send failed after max attempts\r\n");
  return 0;
}

/* Manual peripheral init functions removed — CubeMX now generates them.
 * TIM6 prescaler and start are configured in USER CODE TIM6_Init 2 below.
 */

/* USER CODE END 0 */

int main(void)
{

  /* MPU Configuration--------------------------------------------------------*/
  MPU_Config();

  /* MCU Configuration--------------------------------------------------------*/

  /* Reset of all peripherals, Initializes the Flash interface and the Systick. */
  HAL_Init();

  /* Configure the system clock */
  SystemClock_Config();

  /* Initialize all configured peripherals */
  MX_GPIO_Init();
  MX_USART3_UART_Init();
  MX_USB_OTG_FS_PCD_Init();
  MX_ADC1_Init();
  MX_I2C1_Init();
  MX_TIM6_Init();
  MX_UART4_Init();
  /* USER CODE BEGIN 2 */
  DWT_Init(); /* Enable ARM Cortex-M7 cycle counter for microsecond delays */

  /* ── Boot message ─────────────────────────────────────────────────────────
   */
  Debug_Print("\r\n========================================\r\n");
  Debug_Print("  WQM Sensor Suite — NUCLEO-F722ZE\r\n");
  Debug_Print("========================================\r\n");

  /* ── I2C Bus Scanner ──────────────────────────────────────────────────────
   */
  Debug_Print("[I2C1] Scanning bus for devices...\r\n");
  uint8_t i2c_devs = 0;
  for (uint8_t addr = 0x08; addr <= 0x77; addr++) {
    if (HAL_I2C_IsDeviceReady(&hi2c1, (uint16_t)(addr << 1), 2, 20) == HAL_OK) {
      char scan_msg[48];
      snprintf(scan_msg, sizeof(scan_msg), "[I2C1] ACK at 0x%02X\r\n", addr);
      Debug_Print(scan_msg);
      i2c_devs++;
    }
  }
  if (i2c_devs == 0) {
    Debug_Print("[I2C1] No devices found on bus!\r\n");
  }

  /* ── Initialize BMP280 ────────────────────────────────────────────────────
   */
  if (BMP280_Init()) {
    char msg[64];
    snprintf(msg, sizeof(msg),
             "[OK]  BMP280 initialized (ID=0x%02X at 0x%02X)\r\n",
             BMP280_CHIP_ID, bmp280_i2c_addr >> 1);
    Debug_Print(msg);
  } else {
    Debug_Print("[ERR] BMP280 not found! Check I2C wiring.\r\n");
  }

  /* ── Discover DS18B20 sensors ─────────────────────────────────────────────
   */
  DS18B20_SearchROM();
  {
    char msg[64];
    snprintf(msg, sizeof(msg), "[OK]  DS18B20 sensors found: %u\r\n",
             ds18b20_count);
    Debug_Print(msg);
  }

  Debug_Print("[OK]  All peripherals initialized.\r\n");

  /* ── Onboard ESP32 Gateway UART Link (UART4: PC10 TX -> GPIO25 RX, PC11 RX <- GPIO26 TX) */
  Debug_Print("[OK]  ESP32 UART4 ready (PC10=TX / PC11=RX @ 115200).\r\n");

  /* ── Initialize BNO085 ────────────────────────────────────────────────────
   */
  if (BNO085_Init(&hi2c1, BNO085_REPORT_INTERVAL_MS) == 0) {
    bno085_ok = 1;
    char msg[64];
    snprintf(msg, sizeof(msg), "[OK]  BNO085 initialized (at 0x%02X).\r\n",
             bno085_i2c_addr >> 1);
    Debug_Print(msg);
  } else {
    bno085_ok = 0;
    Debug_Print("[ERR] BNO085 failed to initialize! Check I2C wiring.\r\n");
    /* Reset I2C1 bus so NACK from absent BNO085 doesn't foul BMP280 reads */
    HAL_I2C_DeInit(&hi2c1);
    MX_I2C1_Init();
  }

  Debug_Print("========================================\r\n\r\n");

  HAL_Delay(1000); /* Let sensors stabilize */

  /* USER CODE END 2 */

  /* Infinite loop */
  /* USER CODE BEGIN WHILE */
  while (1) {
    sample_counter++;
    uint32_t loop_start = HAL_GetTick();

    /* ═══════════════════════════════════════════════════════════════════════
     */
    /*  STOP-AND-SAMPLE SEQUENCE                                              */
    /*  1. BMP280  2. DS18B20  3. TDS  4. ORP  5. pH  6. DO                   */
    /* ═══════════════════════════════════════════════════════════════════════
     */

    /* ── Step 1: Read BMP280 (air temp, barometric pressure) ─────────────── */
    BMP280_ReadAll(&sensor_data.air_temp, &sensor_data.pressure_hpa);

    /* ── Step 2: Start DS18B20 conversion and read temperatures ────────── */
    DS18B20_StartConvertAll();
    /* Keep BNO085 FIFO drained during 750ms DS18B20 conversion */
    uint32_t ds_start = HAL_GetTick();
    while (HAL_GetTick() - ds_start < 750) {
      if (bno085_ok) {
        BNO085_Read(&hi2c1, &imu_orient);
      }
      HAL_Delay(50);
    }
    sensor_data.water_temp_1 =
        DS18B20_ReadTemp(0);         /* Single sensor — index 0 */

    /* Use primary temp for compensation; fall back to 25°C if probe fails */
    float comp_temp = sensor_data.water_temp_1;
    if (comp_temp < -50.0f || comp_temp > 125.0f) {
      comp_temp = 25.0f; /* Default if probe disconnected */
    }

    /* ── Step 3: Read fast analog sensor (TDS) ───────────────────────────── */
    sensor_data.tds_ppm = Sensor_ReadTDS(comp_temp);

    /* ── Step 4: Read ORP (~20s settling in real deployment, instant here)  */
    sensor_data.orp_mv = Sensor_ReadORP();

    /* ── Step 5: Read pH ────────────────────────────────────────────────────
     */
    sensor_data.ph = Sensor_ReadPH();

    /* ── Step 6: Read DO last (slowest — maximum settling time by now) ──── */
    sensor_data.do_mgl = Sensor_ReadDO(comp_temp, sensor_data.pressure_hpa);

    /* ── Step 7: Read IMU (BNO085) ───────────────────────────────────────── */
    if (bno085_ok) {
      BNO085_Read(&hi2c1, &imu_orient);
      if (imu_orient.valid) {
        sensor_data.heading = imu_orient.yaw;
        sensor_data.pitch = imu_orient.pitch;
        sensor_data.roll = imu_orient.roll;
        char imu_diag[80];
        snprintf(
            imu_diag, sizeof(imu_diag),
            "[BNO085] Yaw: %.1f deg | Pitch: %.1f deg | Roll: %.1f deg\r\n",
            imu_orient.yaw, imu_orient.pitch, imu_orient.roll);
        Debug_Print(imu_diag);
      }
    }

    /* ── Step 8: Placeholder GNSS fields (ESP32 SIM7600 supplies primary GPS) */
    sensor_data.latitude = 0.0f;
    sensor_data.longitude = 0.0f;
    sensor_data.altitude_m = 0.0f;
    sensor_data.speed_knots = 0.0f;
    sensor_data.course_deg = 0.0f;
    sensor_data.gps_fix = 0;
    sensor_data.satellites = 0;

    /* ═══════════════════════════════════════════════════════════════════════
     */
    /*  BUILD JSON PACKET: PRINT ON USART3 DEBUG + SEND OVER UART4 TO ESP32  */
    /* ═══════════════════════════════════════════════════════════════════════
     */

    uint16_t json_len = WQM_BuildJSON(&sensor_data, json_buf, JSON_BUF_SIZE);
    if (json_len > 0) {
      Debug_Print(json_buf);
      ESP32_SendPacket(json_buf, json_len);
    }

    /* Status LED blink — green LD1 on PB0 */
    HAL_GPIO_TogglePin(GPIOB, LD1_Pin);

    /* Wait for remainder of sample interval while keeping IMU serviced and FIFO
     * drained */
    while ((HAL_GetTick() - loop_start) < SAMPLE_INTERVAL_MS) {
      if (bno085_ok) {
        BNO085_Read(&hi2c1, &imu_orient);
      }
      HAL_Delay(20);
    }

    /* USER CODE END WHILE */

  }
}

void SystemClock_Config(void)
{
  RCC_OscInitTypeDef RCC_OscInitStruct = {0};
  RCC_ClkInitTypeDef RCC_ClkInitStruct = {0};

  /** Configure LSE Drive Capability
  */
  HAL_PWR_EnableBkUpAccess();

  /** Configure the main internal regulator output voltage
  */
  __HAL_RCC_PWR_CLK_ENABLE();
  __HAL_PWR_VOLTAGESCALING_CONFIG(PWR_REGULATOR_VOLTAGE_SCALE1);

  /** Initializes the RCC Oscillators according to the specified parameters
  * in the RCC_OscInitTypeDef structure.
  */
  RCC_OscInitStruct.OscillatorType = RCC_OSCILLATORTYPE_HSE;
  RCC_OscInitStruct.HSEState = RCC_HSE_BYPASS;
  RCC_OscInitStruct.PLL.PLLState = RCC_PLL_ON;
  RCC_OscInitStruct.PLL.PLLSource = RCC_PLLSOURCE_HSE;
  RCC_OscInitStruct.PLL.PLLM = 4;
  RCC_OscInitStruct.PLL.PLLN = 216;
  RCC_OscInitStruct.PLL.PLLP = RCC_PLLP_DIV2;
  RCC_OscInitStruct.PLL.PLLQ = 9;
  if (HAL_RCC_OscConfig(&RCC_OscInitStruct) != HAL_OK)
  {
    Error_Handler();
  }

  /** Activate the Over-Drive mode
  */
  if (HAL_PWREx_EnableOverDrive() != HAL_OK)
  {
    Error_Handler();
  }

  /** Initializes the CPU, AHB and APB buses clocks
  */
  RCC_ClkInitStruct.ClockType = RCC_CLOCKTYPE_HCLK|RCC_CLOCKTYPE_SYSCLK
                              |RCC_CLOCKTYPE_PCLK1|RCC_CLOCKTYPE_PCLK2;
  RCC_ClkInitStruct.SYSCLKSource = RCC_SYSCLKSOURCE_PLLCLK;
  RCC_ClkInitStruct.AHBCLKDivider = RCC_SYSCLK_DIV1;
  RCC_ClkInitStruct.APB1CLKDivider = RCC_HCLK_DIV4;
  RCC_ClkInitStruct.APB2CLKDivider = RCC_HCLK_DIV2;

  if (HAL_RCC_ClockConfig(&RCC_ClkInitStruct, FLASH_LATENCY_7) != HAL_OK)
  {
    Error_Handler();
  }
}

static void MX_ADC1_Init(void)
{

  ADC_ChannelConfTypeDef sConfig = {0};

  /** Configure the global features of the ADC (Clock, Resolution, Data Alignment and number of conversion)
  */
  hadc1.Instance = ADC1;
  hadc1.Init.ClockPrescaler = ADC_CLOCK_SYNC_PCLK_DIV4;
  hadc1.Init.Resolution = ADC_RESOLUTION_12B;
  hadc1.Init.ScanConvMode = ADC_SCAN_DISABLE;
  hadc1.Init.ContinuousConvMode = DISABLE;
  hadc1.Init.DiscontinuousConvMode = DISABLE;
  hadc1.Init.ExternalTrigConvEdge = ADC_EXTERNALTRIGCONVEDGE_NONE;
  hadc1.Init.ExternalTrigConv = ADC_SOFTWARE_START;
  hadc1.Init.DataAlign = ADC_DATAALIGN_RIGHT;
  hadc1.Init.NbrOfConversion = 1;
  hadc1.Init.DMAContinuousRequests = DISABLE;
  hadc1.Init.EOCSelection = ADC_EOC_SINGLE_CONV;
  if (HAL_ADC_Init(&hadc1) != HAL_OK)
  {
    Error_Handler();
  }

  /** Configure for the selected ADC regular channel its corresponding rank in the sequencer and its sample time.
  */
  sConfig.Channel = ADC_CHANNEL_3;
  sConfig.Rank = ADC_REGULAR_RANK_1;
  sConfig.SamplingTime = ADC_SAMPLETIME_3CYCLES;
  if (HAL_ADC_ConfigChannel(&hadc1, &sConfig) != HAL_OK)
  {
    Error_Handler();
  }

}

static void MX_I2C1_Init(void)
{

  hi2c1.Instance = I2C1;
  hi2c1.Init.Timing = 0x20404768;
  hi2c1.Init.OwnAddress1 = 0;
  hi2c1.Init.AddressingMode = I2C_ADDRESSINGMODE_7BIT;
  hi2c1.Init.DualAddressMode = I2C_DUALADDRESS_DISABLE;
  hi2c1.Init.OwnAddress2 = 0;
  hi2c1.Init.OwnAddress2Masks = I2C_OA2_NOMASK;
  hi2c1.Init.GeneralCallMode = I2C_GENERALCALL_DISABLE;
  hi2c1.Init.NoStretchMode = I2C_NOSTRETCH_DISABLE;
  if (HAL_I2C_Init(&hi2c1) != HAL_OK)
  {
    Error_Handler();
  }

  /** Configure Analogue filter
  */
  if (HAL_I2CEx_ConfigAnalogFilter(&hi2c1, I2C_ANALOGFILTER_ENABLE) != HAL_OK)
  {
    Error_Handler();
  }

  /** Configure Digital filter
  */
  if (HAL_I2CEx_ConfigDigitalFilter(&hi2c1, 0) != HAL_OK)
  {
    Error_Handler();
  }

}

static void MX_TIM6_Init(void)
{

  TIM_MasterConfigTypeDef sMasterConfig = {0};

  htim6.Instance = TIM6;
  htim6.Init.Prescaler = 0;
  htim6.Init.CounterMode = TIM_COUNTERMODE_UP;
  htim6.Init.Period = 65535;
  htim6.Init.AutoReloadPreload = TIM_AUTORELOAD_PRELOAD_DISABLE;
  if (HAL_TIM_Base_Init(&htim6) != HAL_OK)
  {
    Error_Handler();
  }
  sMasterConfig.MasterOutputTrigger = TIM_TRGO_RESET;
  sMasterConfig.MasterSlaveMode = TIM_MASTERSLAVEMODE_DISABLE;
  if (HAL_TIMEx_MasterConfigSynchronization(&htim6, &sMasterConfig) != HAL_OK)
  {
    Error_Handler();
  }
  /* USER CODE BEGIN TIM6_Init 2 */
  __HAL_TIM_SET_PRESCALER(&htim6, 107);
  HAL_TIM_Base_Start(&htim6); /* Start free-running counter */
  /* USER CODE END TIM6_Init 2 */

}

static void MX_UART4_Init(void)
{

  huart4.Instance = UART4;
  huart4.Init.BaudRate = 115200 ;
  huart4.Init.WordLength = UART_WORDLENGTH_8B;
  huart4.Init.StopBits = UART_STOPBITS_1;
  huart4.Init.Parity = UART_PARITY_NONE;
  huart4.Init.Mode = UART_MODE_TX_RX;
  huart4.Init.HwFlowCtl = UART_HWCONTROL_NONE;
  huart4.Init.OverSampling = UART_OVERSAMPLING_16;
  huart4.Init.OneBitSampling = UART_ONE_BIT_SAMPLE_DISABLE;
  huart4.AdvancedInit.AdvFeatureInit = UART_ADVFEATURE_NO_INIT;
  if (HAL_UART_Init(&huart4) != HAL_OK)
  {
    Error_Handler();
  }

}

static void MX_USART3_UART_Init(void)
{

  huart3.Instance = USART3;
  huart3.Init.BaudRate = 115200;
  huart3.Init.WordLength = UART_WORDLENGTH_8B;
  huart3.Init.StopBits = UART_STOPBITS_1;
  huart3.Init.Parity = UART_PARITY_NONE;
  huart3.Init.Mode = UART_MODE_TX_RX;
  huart3.Init.HwFlowCtl = UART_HWCONTROL_NONE;
  huart3.Init.OverSampling = UART_OVERSAMPLING_16;
  huart3.Init.OneBitSampling = UART_ONE_BIT_SAMPLE_DISABLE;
  huart3.AdvancedInit.AdvFeatureInit = UART_ADVFEATURE_NO_INIT;
  if (HAL_UART_Init(&huart3) != HAL_OK)
  {
    Error_Handler();
  }

}

static void MX_USB_OTG_FS_PCD_Init(void)
{

  hpcd_USB_OTG_FS.Instance = USB_OTG_FS;
  hpcd_USB_OTG_FS.Init.dev_endpoints = 6;
  hpcd_USB_OTG_FS.Init.speed = PCD_SPEED_FULL;
  hpcd_USB_OTG_FS.Init.dma_enable = DISABLE;
  hpcd_USB_OTG_FS.Init.phy_itface = PCD_PHY_EMBEDDED;
  hpcd_USB_OTG_FS.Init.Sof_enable = ENABLE;
  hpcd_USB_OTG_FS.Init.low_power_enable = DISABLE;
  hpcd_USB_OTG_FS.Init.lpm_enable = DISABLE;
  hpcd_USB_OTG_FS.Init.battery_charging_enable = ENABLE;
  hpcd_USB_OTG_FS.Init.vbus_sensing_enable = ENABLE;
  hpcd_USB_OTG_FS.Init.use_dedicated_ep1 = DISABLE;
  if (HAL_PCD_Init(&hpcd_USB_OTG_FS) != HAL_OK)
  {
    Error_Handler();
  }

}

static void MX_GPIO_Init(void)
{
  GPIO_InitTypeDef GPIO_InitStruct = {0};

  /* GPIO Ports Clock Enable */
  __HAL_RCC_GPIOE_CLK_ENABLE();
  __HAL_RCC_GPIOC_CLK_ENABLE();
  __HAL_RCC_GPIOH_CLK_ENABLE();
  __HAL_RCC_GPIOA_CLK_ENABLE();
  __HAL_RCC_GPIOB_CLK_ENABLE();
  __HAL_RCC_GPIOD_CLK_ENABLE();
  __HAL_RCC_GPIOG_CLK_ENABLE();

  /*Configure GPIO pin Output Level */
  HAL_GPIO_WritePin(GPIOE, DS18B20_DQ_Pin|DS18B20_DQE6_Pin, GPIO_PIN_SET);

  /*Configure GPIO pin Output Level */
  HAL_GPIO_WritePin(GPIOB, LD1_Pin|LD3_Pin|LD2_Pin, GPIO_PIN_RESET);

  /*Configure GPIO pin Output Level */
  HAL_GPIO_WritePin(USB_PowerSwitchOn_GPIO_Port, USB_PowerSwitchOn_Pin, GPIO_PIN_RESET);

  /*Configure GPIO pins : DS18B20_DQ_Pin DS18B20_DQE6_Pin */
  GPIO_InitStruct.Pin = DS18B20_DQ_Pin|DS18B20_DQE6_Pin;
  GPIO_InitStruct.Mode = GPIO_MODE_OUTPUT_OD;
  GPIO_InitStruct.Pull = GPIO_PULLUP;
  GPIO_InitStruct.Speed = GPIO_SPEED_FREQ_HIGH;
  HAL_GPIO_Init(GPIOE, &GPIO_InitStruct);

  /*Configure GPIO pin : PE5 */
  GPIO_InitStruct.Pin = GPIO_PIN_5;
  GPIO_InitStruct.Mode = GPIO_MODE_INPUT;
  GPIO_InitStruct.Pull = GPIO_NOPULL;
  HAL_GPIO_Init(GPIOE, &GPIO_InitStruct);

  /*Configure GPIO pin : USER_Btn_Pin */
  GPIO_InitStruct.Pin = USER_Btn_Pin;
  GPIO_InitStruct.Mode = GPIO_MODE_IT_RISING;
  GPIO_InitStruct.Pull = GPIO_NOPULL;
  HAL_GPIO_Init(USER_Btn_GPIO_Port, &GPIO_InitStruct);

  /*Configure GPIO pins : LD1_Pin LD3_Pin LD2_Pin */
  GPIO_InitStruct.Pin = LD1_Pin|LD3_Pin|LD2_Pin;
  GPIO_InitStruct.Mode = GPIO_MODE_OUTPUT_PP;
  GPIO_InitStruct.Pull = GPIO_NOPULL;
  GPIO_InitStruct.Speed = GPIO_SPEED_FREQ_LOW;
  HAL_GPIO_Init(GPIOB, &GPIO_InitStruct);

  /*Configure GPIO pin : USB_PowerSwitchOn_Pin */
  GPIO_InitStruct.Pin = USB_PowerSwitchOn_Pin;
  GPIO_InitStruct.Mode = GPIO_MODE_OUTPUT_PP;
  GPIO_InitStruct.Pull = GPIO_NOPULL;
  GPIO_InitStruct.Speed = GPIO_SPEED_FREQ_LOW;
  HAL_GPIO_Init(USB_PowerSwitchOn_GPIO_Port, &GPIO_InitStruct);

  /*Configure GPIO pin : USB_OverCurrent_Pin */
  GPIO_InitStruct.Pin = USB_OverCurrent_Pin;
  GPIO_InitStruct.Mode = GPIO_MODE_INPUT;
  GPIO_InitStruct.Pull = GPIO_NOPULL;
  HAL_GPIO_Init(USB_OverCurrent_GPIO_Port, &GPIO_InitStruct);

  /*Configure GPIO pins : PC6 PC7 */
  GPIO_InitStruct.Pin = GPIO_PIN_6|GPIO_PIN_7;
  GPIO_InitStruct.Mode = GPIO_MODE_AF_PP;
  GPIO_InitStruct.Pull = GPIO_NOPULL;
  GPIO_InitStruct.Speed = GPIO_SPEED_FREQ_VERY_HIGH;
  GPIO_InitStruct.Alternate = GPIO_AF8_USART6;
  HAL_GPIO_Init(GPIOC, &GPIO_InitStruct);

}

/* USER CODE BEGIN 4 */

/* UART4 now communicates synchronously with the onboard ESP32 gateway via
 * ESP32_SendPacket() / ESP32_ReadReply(), so no GPS RX IRQ is registered. */

/* USER CODE END 4 */

 /* MPU Configuration */

void MPU_Config(void)
{
  MPU_Region_InitTypeDef MPU_InitStruct = {0};

  /* Disables the MPU */
  HAL_MPU_Disable();

  /** Initializes and configures the Region and the memory to be protected
  */
  MPU_InitStruct.Enable = MPU_REGION_ENABLE;
  MPU_InitStruct.Number = MPU_REGION_NUMBER0;
  MPU_InitStruct.BaseAddress = 0x0;
  MPU_InitStruct.Size = MPU_REGION_SIZE_4GB;
  MPU_InitStruct.SubRegionDisable = 0x87;
  MPU_InitStruct.TypeExtField = MPU_TEX_LEVEL0;
  MPU_InitStruct.AccessPermission = MPU_REGION_NO_ACCESS;
  MPU_InitStruct.DisableExec = MPU_INSTRUCTION_ACCESS_DISABLE;
  MPU_InitStruct.IsShareable = MPU_ACCESS_SHAREABLE;
  MPU_InitStruct.IsCacheable = MPU_ACCESS_NOT_CACHEABLE;
  MPU_InitStruct.IsBufferable = MPU_ACCESS_NOT_BUFFERABLE;

  HAL_MPU_ConfigRegion(&MPU_InitStruct);
  /* Enables the MPU */
  HAL_MPU_Enable(MPU_PRIVILEGED_DEFAULT);

}

void Error_Handler(void)
{
  __disable_irq();
  while (1) {
  }
}
#ifdef USE_FULL_ASSERT
/**
  * @brief  Reports the name of the source file and the source line number
  *         where the assert_param error has occurred.
  * @param  file: pointer to the source file name
  * @param  line: assert_param error line source number
  * @retval None
  */
void assert_failed(uint8_t *file, uint32_t line)
{
  /* USER CODE BEGIN 6 */
  /* User can add his own implementation to report the file name and line
     number, ex: printf("Wrong parameters value: file %s on line %d\r\n", file,
     line) */
  /* USER CODE END 6 */
}
#endif /* USE_FULL_ASSERT */
